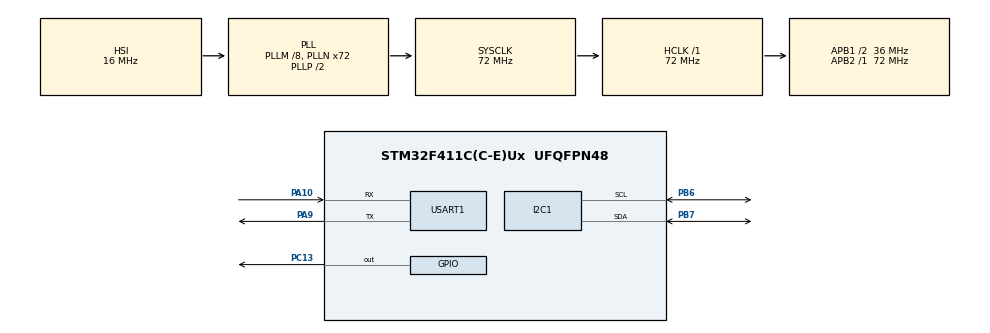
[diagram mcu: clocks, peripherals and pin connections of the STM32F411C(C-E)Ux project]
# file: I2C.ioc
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Mcu.Family=STM32F4
Mcu.Name=STM32F411C(C-E)Ux
Mcu.Package=UFQFPN48
NVIC.PriorityGroup=NVIC_PRIORITYGROUP_4
NVIC.USART1_IRQn=true\:0\:0\:false\:false\:true\:true\:true\:true
PA10.Mode=Asynchronous
PA10.Signal=USART1_RX
PA13.Mode=Serial_Wire
PA13.Signal=SYS_JTMS-SWDIO
PA14.Mode=Serial_Wire
PA14.Signal=SYS_JTCK-SWCLK
PA9.Mode=Asynchronous
PA9.Signal=USART1_TX
PB6.Mode=I2C
PB6.Signal=I2C1_SCL
PB7.Mode=I2C
PB7.Signal=I2C1_SDA
PC13-ANTI_TAMP.Signal=GPIO_Output
PH0\ -\ OSC_IN.Mode=HSE-External-Oscillator
PH0\ -\ OSC_IN.Signal=RCC_OSC_IN
PH1\ -\ OSC_OUT.Mode=HSE-External-Oscillator
PH1\ -\ OSC_OUT.Signal=RCC_OSC_OUT
ProjectManager.HeapSize=0x200
ProjectManager.StackSize=0x400
ProjectManager.TargetToolchain=STM32CubeIDE
RCC.48MHZClocksFreq_Value=36000000
RCC.AHBFreq_Value=72000000
RCC.APB1CLKDivider=RCC_HCLK_DIV2
RCC.APB1Freq_Value=36000000
RCC.APB1TimFreq_Value=72000000
RCC.APB2Freq_Value=72000000
RCC.APB2TimFreq_Value=72000000
RCC.CortexFreq_Value=72000000
RCC.HCLKFreq_Value=72000000
RCC.HSE_VALUE=25000000
RCC.HSI_VALUE=16000000
RCC.LSE_VALUE=32768
RCC.PLLM=8
RCC.PLLN=72
RCC.SYSCLKFreq_VALUE=72000000
RCC.SYSCLKSource=RCC_SYSCLKSOURCE_PLLCLK
RCC.VCOOutputFreq_Value=144000000
USART1.VirtualMode=VM_ASYNC
board=custom

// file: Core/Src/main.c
/* USER CODE BEGIN Header */
/**
  ******************************************************************************
  * @file           : main.c
  * @brief          : Main program body
  ******************************************************************************
  * @attention
  *
  * Copyright (c) 2023 STMicroelectronics.
  * All rights reserved.
  *
  * This software is licensed under terms that can be found in the LICENSE file
  * in the root directory of this software component.
  * If no LICENSE file comes with this software, it is provided AS-IS.
  *
  ******************************************************************************
  */
/* USER CODE END Header */
#include "main.h"

I2C_HandleTypeDef hi2c1;

UART_HandleTypeDef huart1;

void SystemClock_Config(void);
static void MX_GPIO_Init(void);
static void MX_I2C1_Init(void);
static void MX_USART1_UART_Init(void);

/* USER CODE BEGIN 0 */
uint8_t BCD_To_DEC(uint8_t p_BCD_value)
{
	return (((p_BCD_value >> 4) * 10) + (p_BCD_value & 0x0F));
}
uint8_t DEC_To_BCD(uint8_t p_DEC_value)
{
	return (((p_DEC_value / 10) << 4) + (p_DEC_value % 10));
}
/* USER CODE END 0 */

int main(void)
{

  /* MCU Configuration--------------------------------------------------------*/

  /* Reset of all peripherals, Initializes the Flash interface and the Systick. */
  HAL_Init();

  /* Configure the system clock */
  SystemClock_Config();

  /* Initialize all configured peripherals */
  MX_GPIO_Init();
  MX_I2C1_Init();
  MX_USART1_UART_Init();
  /* USER CODE BEGIN 2 */
  uint8_t t_i2c_buffer[4];
  t_i2c_buffer[0] = DEC_To_BCD(0);	//second
  t_i2c_buffer[1] = DEC_To_BCD(12);	//minute
  t_i2c_buffer[2] = DEC_To_BCD(12);	//hour
  t_i2c_buffer[3] = DEC_To_BCD(2);	//day
  HAL_I2C_Mem_Write(&hi2c1, 0x68 << 1, 0, I2C_MEMADD_SIZE_8BIT, t_i2c_buffer, 4, 1000);
  uint32_t time = 0;
  /* USER CODE END 2 */

  /* Infinite loop */
  while (1)
  {

    /* USER CODE BEGIN 3 */
	  if(HAL_GetTick() - time)
	  {
		  HAL_I2C_Mem_Read(&hi2c1, 0x68 << 1, 0, I2C_MEMADD_SIZE_8BIT, t_i2c_buffer, 4, 1000);
		  uint8_t second = BCD_To_DEC(t_i2c_buffer[0]);
		  uint8_t minute = BCD_To_DEC(t_i2c_buffer[1]);
		  uint8_t hour = BCD_To_DEC(t_i2c_buffer[2]);
		  uint8_t day = BCD_To_DEC(t_i2c_buffer[3]);

		  char uart_buf[20] = {};
		  sprintf(uart_buf, "T%d %dh %dm %ds\n", day, hour, minute, second);
		  HAL_UART_Transmit(&huart1, (uint8_t *)uart_buf, sizeof(uart_buf), 1000);
		  time = HAL_GetTick();
	  }
  }
  /* USER CODE END 3 */
}

void SystemClock_Config(void)
{
  RCC_OscInitTypeDef RCC_OscInitStruct = {0};
  RCC_ClkInitTypeDef RCC_ClkInitStruct = {0};

  /** Configure the main internal regulator output voltage
  */
  __HAL_RCC_PWR_CLK_ENABLE();
  __HAL_PWR_VOLTAGESCALING_CONFIG(PWR_REGULATOR_VOLTAGE_SCALE1);

  /** Initializes the RCC Oscillators according to the specified parameters
  * in the RCC_OscInitTypeDef structure.
  */
  RCC_OscInitStruct.OscillatorType = RCC_OSCILLATORTYPE_HSI;
  RCC_OscInitStruct.HSIState = RCC_HSI_ON;
  RCC_OscInitStruct.HSICalibrationValue = RCC_HSICALIBRATION_DEFAULT;
  RCC_OscInitStruct.PLL.PLLState = RCC_PLL_ON;
  RCC_OscInitStruct.PLL.PLLSource = RCC_PLLSOURCE_HSI;
  RCC_OscInitStruct.PLL.PLLM = 8;
  RCC_OscInitStruct.PLL.PLLN = 72;
  RCC_OscInitStruct.PLL.PLLP = RCC_PLLP_DIV2;
  RCC_OscInitStruct.PLL.PLLQ = 4;
  if (HAL_RCC_OscConfig(&RCC_OscInitStruct) != HAL_OK)
  {
    Error_Handler();
  }

  /** Initializes the CPU, AHB and APB buses clocks
  */
  RCC_ClkInitStruct.ClockType = RCC_CLOCKTYPE_HCLK|RCC_CLOCKTYPE_SYSCLK
                              |RCC_CLOCKTYPE_PCLK1|RCC_CLOCKTYPE_PCLK2;
  RCC_ClkInitStruct.SYSCLKSource = RCC_SYSCLKSOURCE_PLLCLK;
  RCC_ClkInitStruct.AHBCLKDivider = RCC_SYSCLK_DIV1;
  RCC_ClkInitStruct.APB1CLKDivider = RCC_HCLK_DIV2;
  RCC_ClkInitStruct.APB2CLKDivider = RCC_HCLK_DIV1;

  if (HAL_RCC_ClockConfig(&RCC_ClkInitStruct, FLASH_LATENCY_2) != HAL_OK)
  {
    Error_Handler();
  }
}

static void MX_I2C1_Init(void)
{

  hi2c1.Instance = I2C1;
  hi2c1.Init.ClockSpeed = 100000;
  hi2c1.Init.DutyCycle = I2C_DUTYCYCLE_2;
  hi2c1.Init.OwnAddress1 = 0;
  hi2c1.Init.AddressingMode = I2C_ADDRESSINGMODE_7BIT;
  hi2c1.Init.DualAddressMode = I2C_DUALADDRESS_DISABLE;
  hi2c1.Init.OwnAddress2 = 0;
  hi2c1.Init.GeneralCallMode = I2C_GENERALCALL_DISABLE;
  hi2c1.Init.NoStretchMode = I2C_NOSTRETCH_DISABLE;
  if (HAL_I2C_Init(&hi2c1) != HAL_OK)
  {
    Error_Handler();
  }

}

static void MX_USART1_UART_Init(void)
{

  huart1.Instance = USART1;
  huart1.Init.BaudRate = 115200;
  huart1.Init.WordLength = UART_WORDLENGTH_8B;
  huart1.Init.StopBits = UART_STOPBITS_1;
  huart1.Init.Parity = UART_PARITY_NONE;
  huart1.Init.Mode = UART_MODE_TX_RX;
  huart1.Init.HwFlowCtl = UART_HWCONTROL_NONE;
  huart1.Init.OverSampling = UART_OVERSAMPLING_16;
  if (HAL_UART_Init(&huart1) != HAL_OK)
  {
    Error_Handler();
  }

}

static void MX_GPIO_Init(void)
{
  GPIO_InitTypeDef GPIO_InitStruct = {0};

  /* GPIO Ports Clock Enable */
  __HAL_RCC_GPIOC_CLK_ENABLE();
  __HAL_RCC_GPIOH_CLK_ENABLE();
  __HAL_RCC_GPIOA_CLK_ENABLE();
  __HAL_RCC_GPIOB_CLK_ENABLE();

  /*Configure GPIO pin Output Level */
  HAL_GPIO_WritePin(GPIOC, GPIO_PIN_13, GPIO_PIN_RESET);

  /*Configure GPIO pin : PC13 */
  GPIO_InitStruct.Pin = GPIO_PIN_13;
  GPIO_InitStruct.Mode = GPIO_MODE_OUTPUT_PP;
  GPIO_InitStruct.Pull = GPIO_NOPULL;
  GPIO_InitStruct.Speed = GPIO_SPEED_FREQ_LOW;
  HAL_GPIO_Init(GPIOC, &GPIO_InitStruct);

}

void Error_Handler(void)
{
  __disable_irq();
  while (1)
  {
  }
}
